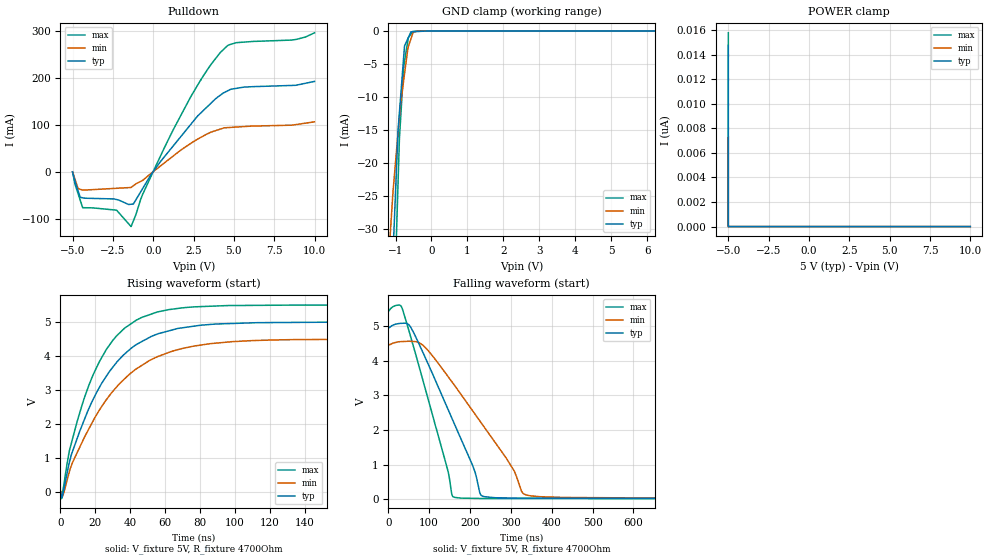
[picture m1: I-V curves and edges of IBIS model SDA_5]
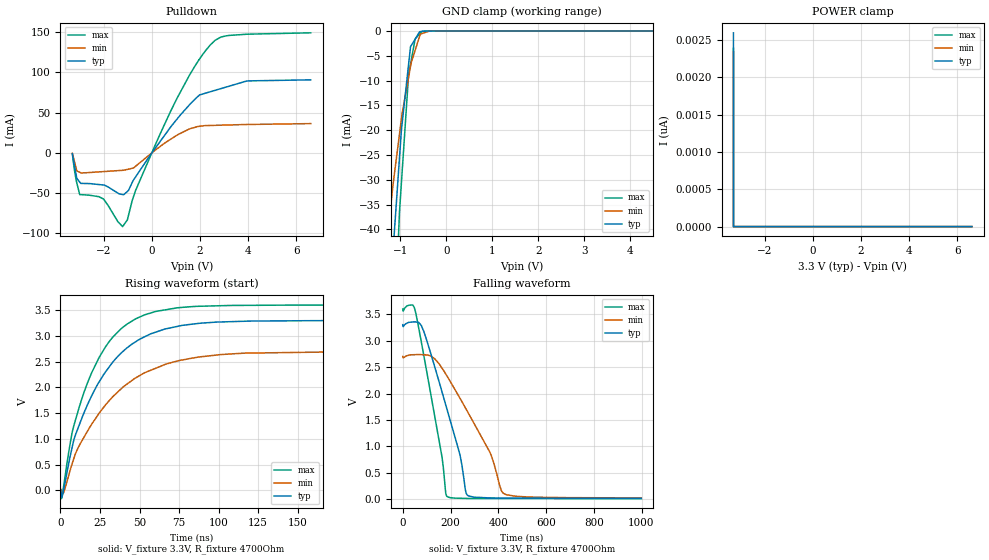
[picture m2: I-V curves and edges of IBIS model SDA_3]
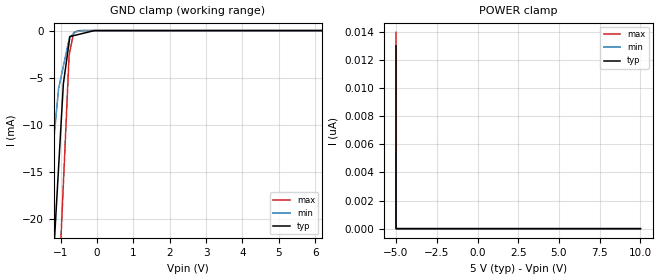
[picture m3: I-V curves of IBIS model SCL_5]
| Texas Instruments Incorporated
| CAN Transceiver Optimized for highly loaded networks
| Marketing part#   Voltage Range   Package-type   #pins/pkg drawing
| TPL0401DCK   2.7V - 5.5V   SC70 / SOT   5-pin DCK
[IBIS Ver]   4.0
[File name]   tpl0401.ibs
[File Rev]   1.0
[Date]   09/23/2011
[Source]   Model built from TISPICED simulations at:
   Texas Instruments Incorporated.
   Analog-eLab, HPA
   12500 TI Blvd
   Dallas, TX -75243
   For Support e-mail: elab_ibis@list.ti.com
[Notes]   Revision History
   Rev 1.0: 09/23/2011
   - Initial model not matched to silicon
   - ccomp values are based on PVT settings:
   WEAK: Low Voltage, High Temperature, Weak Process
   NOM: Nominal Voltage, Nominal Temperature, Nominal Process
   STRONG: High Voltage, Low Temperature, Fast Process
   - User may change ccomp in the order of number values as
   per end simulator used
   - C_comp although listed in numberical order of value are obtained from varying PVT conditions.
   For PVT conditions for eachspecific value, refer to the buffer description under repective [Model].
   IBIS model user is responsible for using appropriate C_comp to simulate for Signal Integrity.
   Combined Pulldown for SDA models are non-monotonic and reflect actual circuit behavior
[Disclaimer] This model is designed as an aid for customers of Texas Instruments.
 TI and its licensors and suppliers make no warranties, either expressed
 or implied, with respect to this  model, including the warranties of
 merchantability or fitness for a particular purpose.
 The model is provided solely on an "as is" basis. The entire risk as to
 its quality and performance is with the customer.
[Copyright] (C)Copyright 2011 Texas Instruments Incorporated.
   All rights reserved.
|   Component TPL0401DCK
[Component]   TPL0401DCK
[Manufacturer]  Texas Instruments Incorporated
[Package]   |6-pin SOT DCK package
|   typ   min   max
R_pkg   0.04623   0.00342   0.04763
L_pkg   1.52786nH   1.39446nH   1.56987nH
C_pkg   0.276100pF   0.22712pF   0.34055pF
[Pin] signal_name   model_name   R_pin   L_pin   C_pin
   1   VCC   POWER   0.04763   1.52786n   0.28128p
   2   GND   GND   0.00342   1.56752n   0.34055p
   3   SCL   SCL   0.04675   1.39446n   0.22951p
   4   SDA   SDA   0.04623   1.50061n   0.27610p
   5   W   TERM   0.00343   1.56987n   0.34010p
   6   H   TERM   0.04728   1.40309n   0.22712p
[Model Selector] SDA
SDA_5 5.0V option
SDA_3 3.3V option
[Model Selector] SCL
SCL_5 5.0V option
SCL_3 3.3V option
[Model Selector] TERM
TERM_5 5.0V option
TERM_3 3.3V option
[Model]  TERM_5
Model_type Terminator
C_comp   0   0   0
[Voltage Range]  5.0  4.5  5.5
[Temperature Range] 27   125   -40
[Model]  TERM_3
Model_type Terminator
C_comp   0   0   0
[Voltage Range]  3.3  2.7  3.6
[Temperature Range] 27   125   -40
| Models and submodels in the file (6): SDA_5 (I/O_open_drain), SDA_3 (I/O_open_drain), SCL_5 (Input), SCL_3 (Input), TERM_5 (Terminator), TERM_3 (Terminator)
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[Model]   SDA_5
Model_type   I/O_open_drain
Polarity   Non-Inverting
Enable   Active-Low
Vinl = 1.5
Vinh = 3.5
Vmeas = 2.5
Vref = 2.5
Cref = 15pF
Rref = 50
|   typ   min   max
|   Nom   Strong   Weak
C_comp   1.85228e-12  1.50539e-12  2.16565e-12
|C_comp (ON state)   1.85228e-12  1.50539e-12  2.16565e-12
|C_comp (OFF state)   1.83537e-12  1.76904e-12  1.98415e-12
[Model Spec]
Vinl   1.35V   1.50V   1.65V
Vinh   3.15V   3.50V   3.85V
[Voltage Range]   5   4.5   5.5
[Temperature Range]   27   125   -40
[Pullup Reference]   5   4.5   5.5
[Pulldown Reference]   -0   -0   -0
[Power Clamp Reference]   5   4.5   5.5
[GND Clamp Reference]   -0   -0   -0
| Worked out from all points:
|   slope of the pulldown table from 0 to 0.75 V, typ, clamps not added: 22.1 ohm
|   GND clamp passes 1 mA (typ) near -0.64 V on its own axis
|   falling waveform, V_fixture 5V, R_fixture 4700Ohm: 20-80 % time 111ns typ, 160ns min, 77.5ns max; typ from 5 V to 0.022 V
|   rising waveform, V_fixture 5V, R_fixture 4700Ohm: 20-80 % time 29.8ns typ, 35.6ns min, 24.5ns max; typ from 0.022 V to 5 V
[Pulldown]
|   Voltage   I(typ)   I(min)   I(max)
-5V       -850.4uA   -542.8uA   -968.1uA
-4.651V   -41.7mA    -36.55mA   -47.71mA
-4.371V   -55.81mA   -39.22mA   -76.92mA
-2.271V   -59.56mA   -35.62mA   -82.16mA
-1.371V   -69.55mA   -33.87mA   -117.2mA
-643.4mV  -35.56mA   -18.48mA   -47.76mA
1.251V    55.03mA    33.39mA    89.63mA
2.885V    122.6mA    71.54mA    191.7mA
4.156V    162.5mA    90.39mA    253.4mA
5.15V     177.2mA    94.75mA    274.4mA
8.595V    183.4mA    98.8mA     280mA
10V       191.9mA    105.9mA    295.4mA
[GND Clamp]
|   Voltage   I(typ)   I(min)   I(max)
-5V       -737.7mA   -488.2mA   -1.032A
-1.229V   -55.07mA   -37.71mA   -85.09mA
-1.071V   -33.96mA   -24.45mA   -48.17mA
-929.5mV  -15.01mA   -15.39mA   -22.99mA
-891.4mV  -12.31mA   -12.96mA   -16.24mA
-767.4mV  -3.516mA   -7.214mA   -5.222mA
-749.8mV  -2.269mA   -6.491mA   -4.624mA
-643.4mV  -994.5uA   -2.381mA   -1.001mA
-570.2mV  -117.9uA   -1.18mA    -449.7uA
-509.7mV  -101.8uA   -188.2uA   -61.6uA
-365mV    -63.17uA   -4.224uA   -848nA
10V       0A         0A         0A
[POWER Clamp]
|   Voltage   I(typ)   I(min)   I(max)
-5V       14.72nA    7.233nA    15.76nA
-5V       0A         0A         0A
-5V       0A         0A         0A
10V       0A         0A         0A
[Ramp]
R_load = 4700
|   typ   min   max
dV/dt_r   2.9865/2.98406e-08   2.67975/3.5562e-08   3.29056/2.44929e-08
dV/dt_f   2.98651/1.11149e-07   2.67923/1.59901e-07   3.29061/7.74117e-08
[Falling Waveform]
V_fixture = 5V
V_fixture_min = 4.5V
V_fixture_max = 5.5V
R_fixture = 4700Ohm
C_fixture = 0F
|   Time   V(typ)   V(min)   V(max)
0s        5V         4.5V       5.5V
34.51ns   5.081V     4.553V     5.492V
52.05ns   5.014V     4.561V     4.8V
85.74ns   4.211V     4.437V     3.388V
159.9ns   2.224V     3.324V     64.22mV
206ns     985.5mV    2.559V     26.06mV
227.9ns   106.8mV    2.196V     21.51mV
308.1ns   32.71mV    817.8mV    19.57mV
336.8ns   30.67mV    127.4mV    19.41mV
999.1ns   22.48mV    34.6mV     15.65mV
[Rising Waveform]
V_fixture = 5V
V_fixture_min = 4.5V
V_fixture_max = 5.5V
R_fixture = 4700Ohm
C_fixture = 0F
|   Time   V(typ)   V(min)   V(max)
0s        22.28mV    33.37mV    15.61mV
612.4ps   -99.06mV   -49.83mV   -190.6mV
1.284ns   -74.02mV   -111.3mV   -5.583mV
5.049ns   863.8mV    590.5mV    1.203V
12.63ns   1.995V     1.494V     2.604V
26.23ns   3.405V     2.714V     4.189V
43.47ns   4.338V     3.623V     5.054V
68.82ns   4.821V     4.209V     5.409V
133.6ns   4.986V     4.481V     5.495V
999.1ns   5V         4.5V       5.5V
[Model]   SDA_3
Model_type   I/O_open_drain
Polarity   Non-Inverting
Enable   Active-Low
Vinl = 0.99
Vinh = 2.31
Vmeas = 1.65
Vref = 1.65
Cref = 15pF
Rref = 50
|   typ   min   max
|   Nom   Strong   Weak
C_comp   1.94800e-12  1.58394e-12  2.25710e-12
|C_comp (ON state)   1.94800e-12  1.58394e-12  2.25710e-12
|C_comp (OFF state)   2.02131e-12  1.90340e-12  2.23700e-12
[Model Spec]
Vinl   0.81V   0.99V   1.08V
Vinh   1.89V   2.31V   2.52V
[Voltage Range]   3.3   2.7   3.6
[Temperature Range]   27   125   -40
[Pullup Reference]   3.3   2.7   3.6
[Pulldown Reference]   -0   -0   -0
[Power Clamp Reference]   3.3   2.7   3.6
[GND Clamp Reference]   -0   -0   -0
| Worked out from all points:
|   slope of the pulldown table from 0 to 0.495 V, typ, clamps not added: 24.3 ohm
|   GND clamp passes 1 mA (typ) near -0.63 V on its own axis
|   falling waveform, V_fixture 3.3V, R_fixture 4700Ohm: 20-80 % time 122ns typ, 182ns min, 84.9ns max; typ from 3.3 V to 0.016 V
|   rising waveform, V_fixture 3.3V, R_fixture 4700Ohm: 20-80 % time 31.4ns typ, 38.7ns min, 25.5ns max; typ from 0.016 V to 3.3 V
[Pulldown]
|   Voltage   I(typ)   I(min)   I(max)
-3.3V     -1.241mA   -627.3uA   -1.544mA
-3.118V   -31.65mA   -22.18mA   -37.24mA
-2.995V   -36.36mA   -24.2mA    -51.86mA
-2.005V   -40.01mA   -23.27mA   -57.36mA
-1.213V   -51.83mA   -21.69mA   -91.62mA
-1.015V   -47.97mA   -20.57mA   -83.26mA
-675.3mV  -29.93mA   -16.66mA   -46.81mA
761mV     31.26mA    16.54mA    50.39mA
1.905V    69.84mA    32.68mA    113.1mA
2.429V    75.92mA    34.02mA    134.1mA
3.209V    82.81mA    34.64mA    145.9mA
6.6V      90.7mA     36.32mA    149.1mA
[GND Clamp]
|   Voltage   I(typ)   I(min)   I(max)
-3.3V     -422.6mA   -270.3mA   -602.7mA
-1.355V   -74.71mA   -48.15mA   -114.5mA
-1.213V   -52.85mA   -35.91mA   -80.31mA
-1.157V   -44.54mA   -31.09mA   -67.92mA
-1.015V   -25.52mA   -20.76mA   -36.43mA
-973.4mV  -19.94mA   -17.72mA   -30.6mA
-817.1mV  -6.705mA   -9.31mA    -8.751mA
-775.4mV  -3.171mA   -7.144mA   -6.651mA
-675.3mV  -1.638mA   -3.895mA   -1.614mA
-577.4mV  -138.3uA   -1.033mA   -568.5uA
-365.2mV  -9.561uA   -4.272uA   -770.5nA
6.6V      0A         0A         0A
[POWER Clamp]
|   Voltage   I(typ)   I(min)   I(max)
-3.3V     2.595nA    2.342nA    2.387nA
-3.3V     0A         0A         0A
-3.3V     0A         0A         0A
6.6V      0A         0A         0A
[Ramp]
R_load = 4700
|   typ   min   max
dV/dt_r   1.97016/3.14547e-08   1.60544/3.88201e-08   2.15334/2.55375e-08
dV/dt_f   1.97012/1.22038e-07   1.60446/1.81754e-07   2.15339/8.48795e-08
[Falling Waveform]
V_fixture = 3.3V
V_fixture_min = 2.7V
V_fixture_max = 3.6V
R_fixture = 4700Ohm
C_fixture = 0F
|   Time   V(typ)   V(min)   V(max)
0s        3.3V       2.7V       3.6V
53.24ns   3.354V     2.735V     3.535V
87.89ns   3.17V      2.732V     2.711V
163.8ns   2.032V     2.479V     799.5mV
185.2ns   1.696V     2.328V     53.17mV
239.3ns   837.7mV    1.91V      19.12mV
265.5ns   108.9mV    1.699V     15.92mV
367.1ns   24.78mV    862.2mV    14.59mV
420.8ns   23.72mV    113.7mV    14.29mV
999.1ns   16.45mV    25.9mV     11.02mV
[Rising Waveform]
V_fixture = 3.3V
V_fixture_min = 2.7V
V_fixture_max = 3.6V
R_fixture = 4700Ohm
C_fixture = 0F
|   Time   V(typ)   V(min)   V(max)
0s        16.15mV    23.83mV    10.97mV
971ps     -121.9mV   -36.97mV   -127.2mV
7.31ns    822mV      508.3mV    1.109V
12.22ns   1.296V     887.6mV    1.652V
19.7ns    1.833V     1.281V     2.281V
28.74ns   2.308V     1.667V     2.798V
47.67ns   2.887V     2.184V     3.332V
74.09ns   3.184V     2.512V     3.544V
192.1ns   3.296V     2.695V     3.597V
999.1ns   3.3V       2.7V       3.6V
[Model]   SCL_5
Model_type   Input
Vinl = 1.5
Vinh = 3.5
|   typ   min   max
|   Nom   Strong   Weak
C_comp   1.24644e-12  1.06584e-12  1.39842e-12
[Model Spec]
Vinl   1.35V   1.50V   1.65V
Vinh   3.15V   3.50V   3.85V
[Voltage Range]   5   4.5   5.5
[Temperature Range]   27   125   -40
[Power Clamp Reference]   5   4.5   5.5
[GND Clamp Reference]   -0   -0   -0
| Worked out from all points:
|   GND clamp passes 1 mA (typ) near -0.76 V on its own axis
[GND Clamp]
|   Voltage   I(typ)   I(min)   I(max)
-5V       -433.8mA   -295.9mA   -533.4mA
-1.529V   -52.99mA   -27.53mA   -84.96mA
-1.371V   -38.77mA   -19.02mA   -64.8mA
-1.229V   -26mA      -13.08mA   -47.72mA
-1.06V    -14.51mA   -6.158mA   -27.71mA
-929.5mV  -5.664mA   -3.797mA   -16.36mA
-771.4mV  -1.26mA    -937.2uA   -2.62mA
-748.9mV  -632.3uA   -691.4uA   -2.188mA
-645.6mV  -535.4uA   -332.5uA   -209.2uA
-519.8mV  -417.2uA   -81.09uA   -8.368uA
-75.56mV  0A         -64.14nA   0A
10V       0A         0A         0A
[POWER Clamp]
|   Voltage   I(typ)   I(min)   I(max)
-5V       13nA       5.408nA    13.96nA
-5V       0A         0A         0A
-5V       0A         0A         0A
10V       0A         0A         0A
